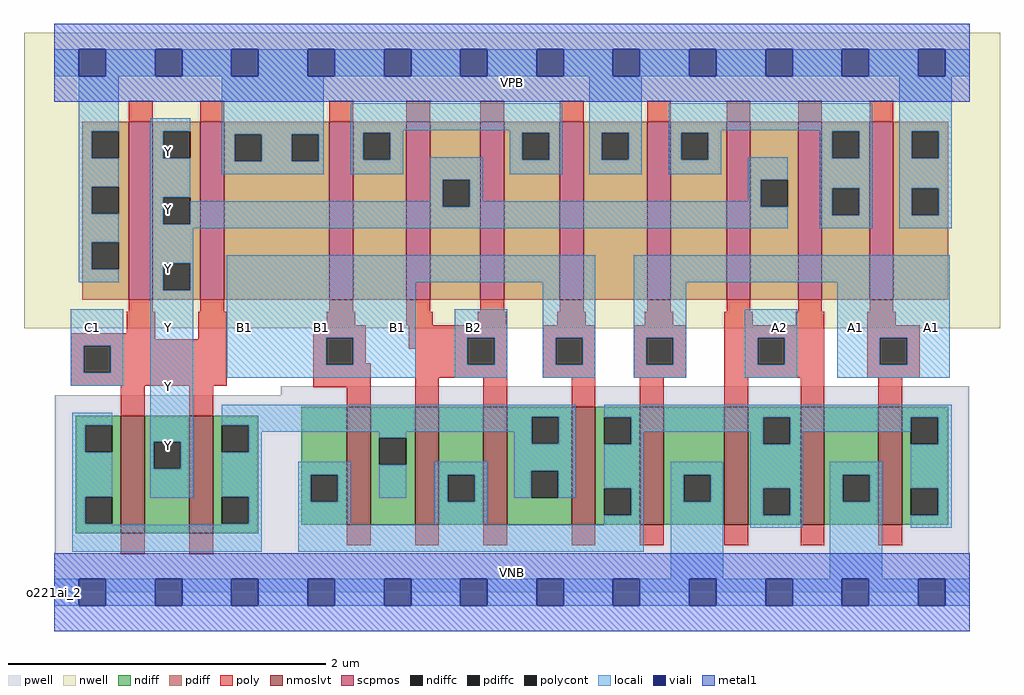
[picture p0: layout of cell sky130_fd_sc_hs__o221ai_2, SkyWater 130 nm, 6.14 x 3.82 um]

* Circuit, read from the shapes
.subckt sky130_fd_sc_hs__o221ai_2 A1 A2 B1 B2 C1 VGND VNB VPB VPWR Y
XM1 Y C1 n1 VNB sky130_fd_pr__nfet_01v8_lvt w=0.74 l=0.15 m=2
XM2 n1 B1 n2 VNB sky130_fd_pr__nfet_01v8_lvt w=0.74 l=0.15 m=2
XM3 n2 B2 n1 VNB sky130_fd_pr__nfet_01v8_lvt w=0.74 l=0.15 m=2
XM4 VGND A1 n2 VNB sky130_fd_pr__nfet_01v8_lvt w=0.74 l=0.15 m=2
XM5 n2 A2 VGND VNB sky130_fd_pr__nfet_01v8_lvt w=0.74 l=0.15 m=2
XM6 Y C1 VPWR VPB sky130_fd_pr__pfet_01v8 w=1.12 l=0.15 m=2
XM7 n3 B1 VPWR VPB sky130_fd_pr__pfet_01v8 w=1.12 l=0.15 m=2
XM8 Y B2 n3 VPB sky130_fd_pr__pfet_01v8 w=1.12 l=0.15 m=2
XM9 n4 A1 VPWR VPB sky130_fd_pr__pfet_01v8 w=1.12 l=0.15 m=2
XM10 Y A2 n4 VPB sky130_fd_pr__pfet_01v8 w=1.12 l=0.15 m=2
.ends

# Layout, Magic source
magic
tech sky130A
magscale 1 2
<< nwell >>
rect -38 332 1190 704
<< pwell >>
rect 285 248 1151 259
rect 1 49 1151 248
rect 0 0 1152 49
<< scpmos >>
rect 94 368 124 592
rect 184 368 214 592
rect 346 368 376 592
rect 443 368 473 592
rect 536 368 566 592
rect 636 368 666 592
rect 746 368 776 592
rect 846 368 876 592
rect 936 368 966 592
rect 1026 368 1056 592
<< nmoslvt >>
rect 84 74 114 222
rect 170 74 200 222
rect 368 85 398 233
rect 454 85 484 233
rect 540 85 570 233
rect 651 85 681 233
rect 737 85 767 233
rect 843 85 873 233
rect 939 85 969 233
rect 1037 85 1067 233
<< ndiff >>
rect 27 210 84 222
rect 27 176 39 210
rect 73 176 84 210
rect 27 120 84 176
rect 27 86 39 120
rect 73 86 84 120
rect 27 74 84 86
rect 114 189 170 222
rect 114 155 125 189
rect 159 155 170 189
rect 114 74 170 155
rect 200 210 257 222
rect 200 176 211 210
rect 245 176 257 210
rect 200 120 257 176
rect 200 86 211 120
rect 245 86 257 120
rect 200 74 257 86
rect 311 148 368 233
rect 311 114 323 148
rect 357 114 368 148
rect 311 85 368 114
rect 398 194 454 233
rect 398 160 409 194
rect 443 160 454 194
rect 398 85 454 160
rect 484 148 540 233
rect 484 114 495 148
rect 529 114 540 148
rect 484 85 540 114
rect 570 221 651 233
rect 570 187 601 221
rect 635 187 651 221
rect 570 153 651 187
rect 570 119 600 153
rect 634 119 651 153
rect 570 85 651 119
rect 681 220 737 233
rect 681 186 692 220
rect 726 186 737 220
rect 681 131 737 186
rect 681 97 692 131
rect 726 97 737 131
rect 681 85 737 97
rect 767 148 843 233
rect 767 114 792 148
rect 826 114 843 148
rect 767 85 843 114
rect 873 220 939 233
rect 873 186 892 220
rect 926 186 939 220
rect 873 131 939 186
rect 873 97 892 131
rect 926 97 939 131
rect 873 85 939 97
rect 969 148 1037 233
rect 969 114 992 148
rect 1026 114 1037 148
rect 969 85 1037 114
rect 1067 220 1125 233
rect 1067 186 1078 220
rect 1112 186 1125 220
rect 1067 131 1125 186
rect 1067 97 1078 131
rect 1112 97 1125 131
rect 1067 85 1125 97
<< pdiff >>
rect 35 580 94 592
rect 35 546 47 580
rect 81 546 94 580
rect 35 510 94 546
rect 35 476 47 510
rect 81 476 94 510
rect 35 440 94 476
rect 35 406 47 440
rect 81 406 94 440
rect 35 368 94 406
rect 124 580 184 592
rect 124 546 137 580
rect 171 546 184 580
rect 124 497 184 546
rect 124 463 137 497
rect 171 463 184 497
rect 124 414 184 463
rect 124 380 137 414
rect 171 380 184 414
rect 124 368 184 380
rect 214 576 346 592
rect 214 542 227 576
rect 261 542 299 576
rect 333 542 346 576
rect 214 368 346 542
rect 376 578 443 592
rect 376 544 389 578
rect 423 544 443 578
rect 376 368 443 544
rect 473 519 536 592
rect 473 485 489 519
rect 523 485 536 519
rect 473 368 536 485
rect 566 578 636 592
rect 566 544 589 578
rect 623 544 636 578
rect 566 368 636 544
rect 666 578 746 592
rect 666 544 689 578
rect 723 544 746 578
rect 666 368 746 544
rect 776 578 846 592
rect 776 544 789 578
rect 823 544 846 578
rect 776 368 846 544
rect 876 519 936 592
rect 876 485 889 519
rect 923 485 936 519
rect 876 368 936 485
rect 966 580 1026 592
rect 966 546 979 580
rect 1013 546 1026 580
rect 966 508 1026 546
rect 966 474 979 508
rect 1013 474 1026 508
rect 966 368 1026 474
rect 1056 580 1125 592
rect 1056 546 1079 580
rect 1113 546 1125 580
rect 1056 508 1125 546
rect 1056 474 1079 508
rect 1113 474 1125 508
rect 1056 368 1125 474
<< ndiffc >>
rect 39 176 73 210
rect 39 86 73 120
rect 125 155 159 189
rect 211 176 245 210
rect 211 86 245 120
rect 323 114 357 148
rect 409 160 443 194
rect 495 114 529 148
rect 601 187 635 221
rect 600 119 634 153
rect 692 186 726 220
rect 692 97 726 131
rect 792 114 826 148
rect 892 186 926 220
rect 892 97 926 131
rect 992 114 1026 148
rect 1078 186 1112 220
rect 1078 97 1112 131
<< pdiffc >>
rect 47 546 81 580
rect 47 476 81 510
rect 47 406 81 440
rect 137 546 171 580
rect 137 463 171 497
rect 137 380 171 414
rect 227 542 261 576
rect 299 542 333 576
rect 389 544 423 578
rect 489 485 523 519
rect 589 544 623 578
rect 689 544 723 578
rect 789 544 823 578
rect 889 485 923 519
rect 979 546 1013 580
rect 979 474 1013 508
rect 1079 546 1113 580
rect 1079 474 1113 508
<< poly >>
rect 94 592 124 618
rect 184 592 214 618
rect 346 592 376 618
rect 443 592 473 618
rect 536 592 566 618
rect 636 592 666 618
rect 746 592 776 618
rect 846 592 876 618
rect 936 592 966 618
rect 1026 592 1056 618
rect 94 353 124 368
rect 184 353 214 368
rect 346 353 376 368
rect 443 353 473 368
rect 536 353 566 368
rect 636 353 666 368
rect 746 353 776 368
rect 846 353 876 368
rect 936 353 966 368
rect 1026 353 1056 368
rect 91 326 127 353
rect 21 318 127 326
rect 181 318 217 353
rect 343 336 379 353
rect 443 336 476 353
rect 533 336 569 353
rect 633 336 669 353
rect 743 336 779 353
rect 843 336 879 353
rect 933 336 969 353
rect 21 310 217 318
rect 21 276 37 310
rect 71 276 217 310
rect 21 260 217 276
rect 326 320 392 336
rect 326 286 342 320
rect 376 288 392 320
rect 446 320 570 336
rect 446 306 520 320
rect 376 286 398 288
rect 84 222 114 260
rect 170 222 200 260
rect 326 258 398 286
rect 368 233 398 258
rect 454 286 520 306
rect 554 286 570 320
rect 454 270 570 286
rect 615 320 681 336
rect 615 286 631 320
rect 665 286 681 320
rect 615 270 681 286
rect 729 320 795 336
rect 729 286 745 320
rect 779 286 795 320
rect 729 270 795 286
rect 843 320 969 336
rect 843 286 885 320
rect 919 286 969 320
rect 843 270 969 286
rect 1023 336 1059 353
rect 1023 320 1089 336
rect 1023 286 1039 320
rect 1073 286 1089 320
rect 1023 270 1089 286
rect 454 233 484 270
rect 540 233 570 270
rect 651 233 681 270
rect 737 233 767 270
rect 843 233 873 270
rect 939 233 969 270
rect 1037 233 1067 270
rect 84 48 114 74
rect 170 48 200 74
rect 368 59 398 85
rect 454 59 484 85
rect 540 59 570 85
rect 651 59 681 85
rect 737 59 767 85
rect 843 59 873 85
rect 939 59 969 85
rect 1037 59 1067 85
<< polycont >>
rect 37 276 71 310
rect 342 286 376 320
rect 520 286 554 320
rect 631 286 665 320
rect 745 286 779 320
rect 885 286 919 320
rect 1039 286 1073 320
<< locali >>
rect 0 649 31 683
rect 65 649 127 683
rect 161 649 223 683
rect 257 649 319 683
rect 353 649 415 683
rect 449 649 511 683
rect 545 649 607 683
rect 641 649 703 683
rect 737 649 799 683
rect 833 649 895 683
rect 929 649 991 683
rect 1025 649 1087 683
rect 1121 649 1152 683
rect 31 580 81 649
rect 31 546 47 580
rect 31 510 81 546
rect 31 476 47 510
rect 31 440 81 476
rect 31 406 47 440
rect 31 390 81 406
rect 121 580 171 596
rect 121 546 137 580
rect 121 497 171 546
rect 211 576 339 649
rect 211 542 227 576
rect 261 542 299 576
rect 333 542 339 576
rect 211 526 339 542
rect 373 581 639 615
rect 373 578 439 581
rect 373 544 389 578
rect 423 544 439 578
rect 573 578 639 581
rect 373 526 439 544
rect 121 463 137 497
rect 473 519 539 547
rect 573 544 589 578
rect 623 544 639 578
rect 573 526 639 544
rect 673 578 739 649
rect 673 544 689 578
rect 723 544 739 578
rect 673 526 739 544
rect 773 581 1029 615
rect 773 578 839 581
rect 773 544 789 578
rect 823 544 839 578
rect 963 580 1029 581
rect 773 526 839 544
rect 473 492 489 519
rect 171 485 489 492
rect 523 492 539 519
rect 873 519 923 547
rect 873 492 889 519
rect 523 485 889 492
rect 171 463 923 485
rect 121 458 923 463
rect 963 546 979 580
rect 1013 546 1029 580
rect 963 508 1029 546
rect 963 474 979 508
rect 1013 474 1029 508
rect 963 458 1029 474
rect 1063 580 1129 649
rect 1063 546 1079 580
rect 1113 546 1129 580
rect 1063 508 1129 546
rect 1063 474 1079 508
rect 1113 474 1129 508
rect 1063 458 1129 474
rect 121 414 175 458
rect 121 380 137 414
rect 171 380 175 414
rect 21 310 87 356
rect 21 276 37 310
rect 71 276 87 310
rect 21 260 87 276
rect 23 210 73 226
rect 23 176 39 210
rect 23 120 73 176
rect 23 86 39 120
rect 121 189 175 380
rect 217 390 681 424
rect 217 320 455 390
rect 217 286 342 320
rect 376 286 455 320
rect 217 270 455 286
rect 504 320 570 356
rect 504 286 520 320
rect 554 286 570 320
rect 504 270 570 286
rect 615 320 681 390
rect 615 286 631 320
rect 665 286 681 320
rect 615 270 681 286
rect 729 390 1127 424
rect 729 320 795 390
rect 729 286 745 320
rect 779 286 795 320
rect 729 270 795 286
rect 869 320 935 356
rect 869 286 885 320
rect 919 286 935 320
rect 869 270 935 286
rect 985 320 1127 390
rect 985 286 1039 320
rect 1073 286 1127 320
rect 985 270 1127 286
rect 121 155 125 189
rect 159 155 175 189
rect 121 119 175 155
rect 211 221 656 236
rect 211 210 601 221
rect 245 202 601 210
rect 245 176 261 202
rect 211 120 261 176
rect 409 194 443 202
rect 23 85 73 86
rect 245 86 261 120
rect 211 85 261 86
rect 23 51 261 85
rect 307 148 373 164
rect 307 114 323 148
rect 357 114 373 148
rect 579 187 601 202
rect 635 187 656 221
rect 409 119 443 160
rect 479 148 545 164
rect 307 85 373 114
rect 479 114 495 148
rect 529 114 545 148
rect 579 153 656 187
rect 579 119 600 153
rect 634 119 656 153
rect 692 220 1129 236
rect 726 202 892 220
rect 726 186 742 202
rect 692 131 742 186
rect 876 186 892 202
rect 926 202 1078 220
rect 926 186 942 202
rect 479 85 545 114
rect 726 97 742 131
rect 692 85 742 97
rect 307 51 742 85
rect 776 148 842 164
rect 776 114 792 148
rect 826 114 842 148
rect 776 17 842 114
rect 876 131 942 186
rect 1112 186 1129 220
rect 876 97 892 131
rect 926 97 942 131
rect 876 81 942 97
rect 976 148 1042 164
rect 976 114 992 148
rect 1026 114 1042 148
rect 976 17 1042 114
rect 1078 131 1129 186
rect 1112 97 1129 131
rect 1078 81 1129 97
rect 0 -17 31 17
rect 65 -17 127 17
rect 161 -17 223 17
rect 257 -17 319 17
rect 353 -17 415 17
rect 449 -17 511 17
rect 545 -17 607 17
rect 641 -17 703 17
rect 737 -17 799 17
rect 833 -17 895 17
rect 929 -17 991 17
rect 1025 -17 1087 17
rect 1121 -17 1152 17
<< viali >>
rect 31 649 65 683
rect 127 649 161 683
rect 223 649 257 683
rect 319 649 353 683
rect 415 649 449 683
rect 511 649 545 683
rect 607 649 641 683
rect 703 649 737 683
rect 799 649 833 683
rect 895 649 929 683
rect 991 649 1025 683
rect 1087 649 1121 683
rect 31 -17 65 17
rect 127 -17 161 17
rect 223 -17 257 17
rect 319 -17 353 17
rect 415 -17 449 17
rect 511 -17 545 17
rect 607 -17 641 17
rect 703 -17 737 17
rect 799 -17 833 17
rect 895 -17 929 17
rect 991 -17 1025 17
rect 1087 -17 1121 17
<< metal1 >>
rect 0 683 1152 715
rect 0 649 31 683
rect 65 649 127 683
rect 161 649 223 683
rect 257 649 319 683
rect 353 649 415 683
rect 449 649 511 683
rect 545 649 607 683
rect 641 649 703 683
rect 737 649 799 683
rect 833 649 895 683
rect 929 649 991 683
rect 1025 649 1087 683
rect 1121 649 1152 683
rect 0 617 1152 649
rect 0 17 1152 49
rect 0 -17 31 17
rect 65 -17 127 17
rect 161 -17 223 17
rect 257 -17 319 17
rect 353 -17 415 17
rect 449 -17 511 17
rect 545 -17 607 17
rect 641 -17 703 17
rect 737 -17 799 17
rect 833 -17 895 17
rect 929 -17 991 17
rect 1025 -17 1087 17
rect 1121 -17 1152 17
rect 0 -49 1152 -17
<< labels >>
rlabel comment s 0 0 0 0 4 o221ai_2
flabel pwell s 0 0 1152 49 0 FreeSans 200 0 0 0 VNB
port 7 nsew ground bidirectional
flabel nwell s 0 617 1152 666 0 FreeSans 200 0 0 0 VPB
port 8 nsew power bidirectional
flabel metal1 s 0 617 1152 666 0 FreeSans 340 0 0 0 VPWR
port 9 nsew power bidirectional
flabel metal1 s 0 0 1152 49 0 FreeSans 340 0 0 0 VGND
port 6 nsew ground bidirectional
flabel locali s 127 168 161 202 0 FreeSans 340 0 0 0 Y
port 10 nsew signal output
flabel locali s 127 242 161 276 0 FreeSans 340 0 0 0 Y
port 10 nsew signal output
flabel locali s 127 316 161 350 0 FreeSans 340 0 0 0 Y
port 10 nsew signal output
flabel locali s 127 390 161 424 0 FreeSans 340 0 0 0 Y
port 10 nsew signal output
flabel locali s 127 464 161 498 0 FreeSans 340 0 0 0 Y
port 10 nsew signal output
flabel locali s 127 538 161 572 0 FreeSans 340 0 0 0 Y
port 10 nsew signal output
flabel locali s 223 316 257 350 0 FreeSans 340 0 0 0 B1
port 3 nsew signal input
flabel locali s 319 316 353 350 0 FreeSans 340 0 0 0 B1
port 3 nsew signal input
flabel locali s 415 316 449 350 0 FreeSans 340 0 0 0 B1
port 3 nsew signal input
flabel locali s 991 316 1025 350 0 FreeSans 340 0 0 0 A1
port 1 nsew signal input
flabel locali s 1087 316 1121 350 0 FreeSans 340 0 0 0 A1
port 1 nsew signal input
flabel locali s 31 316 65 350 0 FreeSans 340 0 0 0 C1
port 5 nsew signal input
flabel locali s 511 316 545 350 0 FreeSans 340 0 0 0 B2
port 4 nsew signal input
flabel locali s 895 316 929 350 0 FreeSans 340 0 0 0 A2
port 2 nsew signal input
<< properties >>
string LEFsite unit
string LEFclass CORE
string FIXED_BBOX 0 0 1152 666
string GDS_FILE $PDKPATH/libs.ref/sky130_fd_sc_hs/gds/sky130_fd_sc_hs.gds
string LEFsymmetry X Y
string GDS_END 3828698
string GDS_START 3818504
<< end >>
